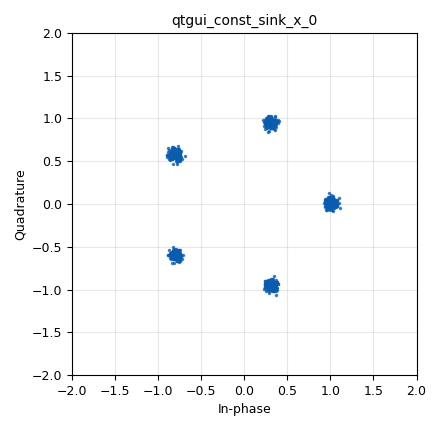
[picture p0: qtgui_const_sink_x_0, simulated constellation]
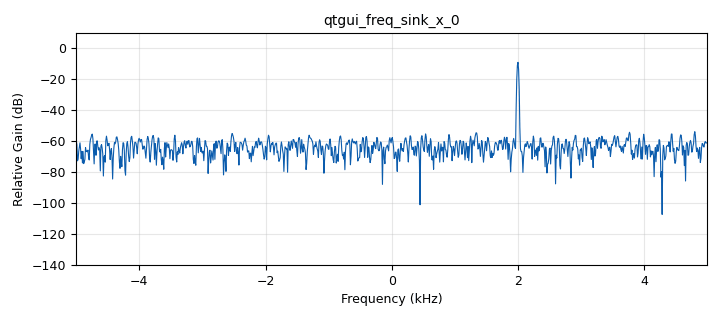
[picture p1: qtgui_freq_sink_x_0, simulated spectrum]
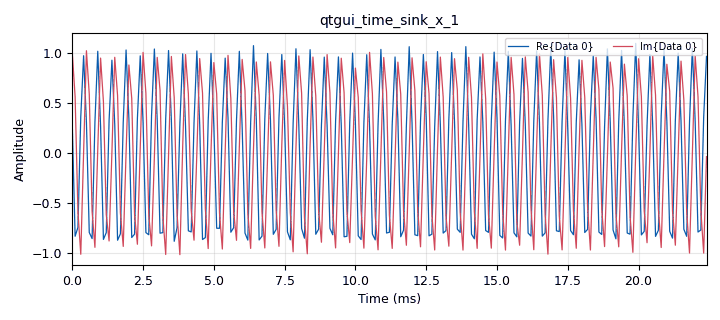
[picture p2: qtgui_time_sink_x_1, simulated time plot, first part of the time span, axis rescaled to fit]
options:
  parameters:
    author: gnuradio
    generate_options: qt_gui
    id: ECE531_Lab1f
    output_language: python
    title: Not titled yet
  states: {}

blocks:
- name: freq
  id: variable
  parameters:
    value: '2000'
  states: {}
- name: magnitude
  id: variable_qtgui_range
  parameters:
    orient: Qt.Horizontal
    start: '0'
    step: '.1'
    stop: '1'
    value: '0'
  states: {}
- name: phase
  id: variable_qtgui_range
  parameters:
    orient: Qt.Horizontal
    start: '0'
    step: '0.1'
    stop: '360'
    value: '0'
  states: {}
- name: sample_rate
  id: variable_qtgui_range
  parameters:
    min_len: '1000'
    orient: Qt.Horizontal
    start: '1000'
    step: '1000'
    stop: '40000'
    value: '10000'
  states: {}
- name: analog_noise_source_x_0
  id: analog_noise_source_x
  parameters:
    amp: '.05'
    noise_type: analog.GR_GAUSSIAN
    seed: '0'
    type: complex
  states: {}
- name: analog_sig_source_x_0
  id: analog_sig_source_x
  parameters:
    amp: '1'
    freq: freq
    offset: '0'
    phase: '0'
    samp_rate: sample_rate
    type: complex
    waveform: analog.GR_SIN_WAVE
  states: {}
- name: blocks_add_xx_0
  id: blocks_add_xx
  parameters:
    type: complex
  states: {}
- name: blocks_throttle_0
  id: blocks_throttle
  parameters:
    samples_per_second: freq
    type: complex
  states: {}
- name: channels_iqbal_gen_0
  id: channels_iqbal_gen
  parameters:
    mag: magnitude
    mode: '0'
    phase: phase
  states: {}
- name: qtgui_const_sink_x_0
  id: qtgui_const_sink_x
  parameters:
    gui_hint: tabs@2
    size: '1024'
    type: complex
  states: {}
- name: qtgui_freq_sink_x_0
  id: qtgui_freq_sink_x
  parameters:
    bw: sample_rate
    fc: '0'
    fftsize: '1024'
    gui_hint: tabs@1
    showports: 'True'
    type: complex
    wintype: firdes.WIN_BLACKMAN_hARRIS
  states: {}
- name: qtgui_histogram_sink_x_0
  id: qtgui_histogram_sink_x
  parameters:
    bins: '100'
    size: '1024'
    type: float
    xmax: '1'
    xmin: '-1'
  states: {state: disabled}
- name: qtgui_time_sink_x_1
  id: qtgui_time_sink_x
  parameters:
    gui_hint: tabs@0
    label1: ''
    label2: ''
    size: '1024'
    srate: sample_rate
    type: complex
  states: {}
- name: tabs
  id: qtgui_tab_widget
  parameters:
    label0: Time
    label1: Frequency
    label2: Constellation
    num_tabs: '3'
  states: {}

connections:
- [analog_noise_source_x_0, '0', blocks_add_xx_0, '1']
- [analog_noise_source_x_0, '0', qtgui_histogram_sink_x_0, '0']
- [analog_sig_source_x_0, '0', blocks_add_xx_0, '0']
- [blocks_add_xx_0, '0', blocks_throttle_0, '0']
- [blocks_throttle_0, '0', channels_iqbal_gen_0, '0']
- [channels_iqbal_gen_0, '0', qtgui_const_sink_x_0, '0']
- [channels_iqbal_gen_0, '0', qtgui_freq_sink_x_0, '0']
- [channels_iqbal_gen_0, '0', qtgui_time_sink_x_1, '0']

metadata:
  file_format: 1
